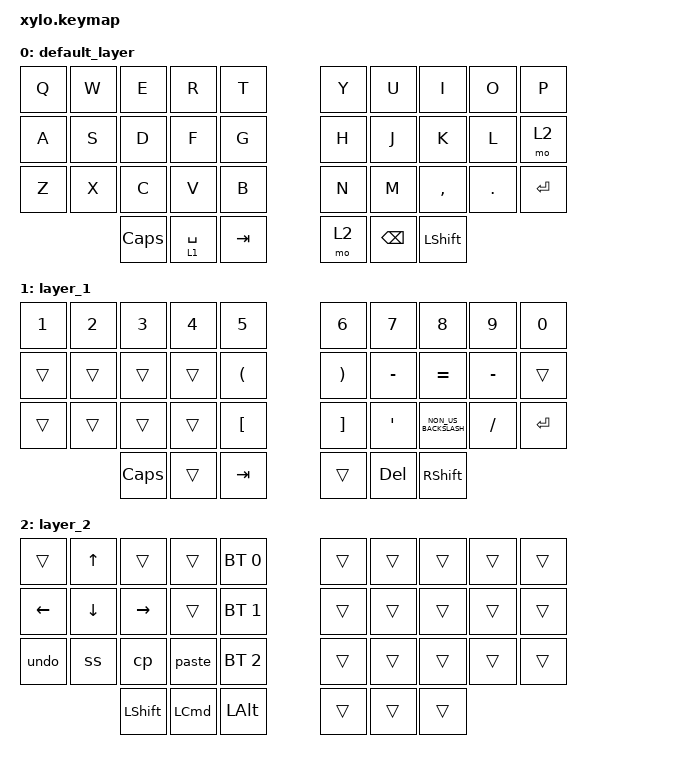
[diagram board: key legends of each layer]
#include <behaviors.dtsi>
#include <dt-bindings/zmk/bt.h>
#include <dt-bindings/zmk/keys.h>

/ {
    behaviors {
        hm: homerow_mods {
            compatible = "zmk,behavior-hold-tap";
            label = "HM";
            bindings = <&kp>, <&kp>;

            #binding-cells = <2>;
            tapping-term-ms = <150>;
            require-prior-idle-ms = <0>;
            flavor = "balanced";
        };
    };

    macros {
        cp: cp {
            compatible = "zmk,behavior-macro";
            #binding-cells = <0>;
            bindings = <&kp LG(C)>;
            label = "CP";
        };

        paste: paste {
            compatible = "zmk,behavior-macro";
            #binding-cells = <0>;
            bindings = <&kp LG(V)>;
            label = "PASTE";
        };

        undo: undo {
            compatible = "zmk,behavior-macro";
            #binding-cells = <0>;
            bindings = <&kp LG(Z)>;
            label = "UNDO";
        };

        ss: ss {
            compatible = "zmk,behavior-macro";
            #binding-cells = <0>;
            bindings = <&kp LS(LG(NUMBER_4))>;
            label = "SS";
        };
    };

    keymap {
        compatible = "zmk,keymap";

        default_layer {
            bindings = <
&kp Q         &kp W  &kp E  &kp R        &kp T    &kp Y  &kp U          &kp I      &kp O    &kp P
&kp A         &kp S  &kp D  &kp F        &kp G    &kp H  &kp J          &kp K      &kp L    &mo 2
&kp Z         &kp X  &kp C  &kp V        &kp B    &kp N  &kp M          &kp COMMA  &kp DOT  &kp ENTER
&kp CAPSLOCK                &lt 1 SPACE  &kp TAB  &mo 2  &kp BACKSPACE                      &kp LEFT_SHIFT
            >;
        };

        layer_1 {
            bindings = <
&kp N1        &kp N2  &kp N3  &kp N4  &kp N5                &kp N6                 &kp N7          &kp N8                &kp N9     &kp N0
&trans        &trans  &trans  &trans  &kp LEFT_PARENTHESIS  &kp RIGHT_PARENTHESIS  &kp MINUS       &kp EQUAL             &kp MINUS  &trans
&trans        &trans  &trans  &trans  &kp LEFT_BRACKET      &kp RIGHT_BRACKET      &kp APOSTROPHE  &kp NON_US_BACKSLASH  &kp SLASH  &kp ENTER
&kp CAPSLOCK                  &trans  &kp TAB               &trans                 &kp DELETE                                       &kp RIGHT_SHIFT
            >;
        };

        layer_2 {
            bindings = <
&trans          &kp UP    &trans     &trans    &bt BT_SEL 0  &trans  &trans  &trans  &trans  &trans
&kp LEFT        &kp DOWN  &kp RIGHT  &trans    &bt BT_SEL 1  &trans  &trans  &trans  &trans  &trans
&undo           &ss       &cp        &paste    &bt BT_SEL 2  &trans  &trans  &trans  &trans  &trans
&kp LEFT_SHIFT                       &kp LCMD  &kp LEFT_ALT  &trans  &trans                  &trans
            >;
        };
    };
};
